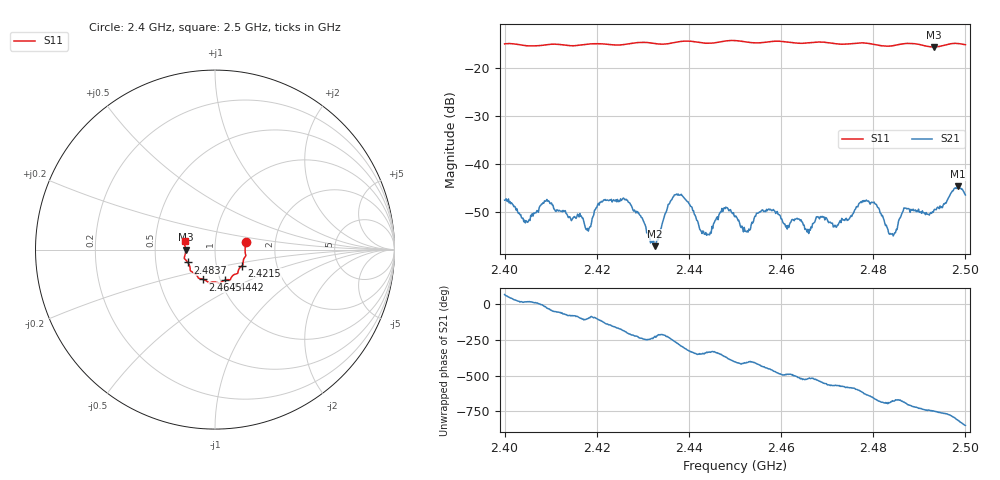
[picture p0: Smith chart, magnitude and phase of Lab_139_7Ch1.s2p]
# Hz S RI R 50
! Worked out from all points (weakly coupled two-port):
!   601 points, 2.4 GHz to 2.5 GHz, reference 50 ohm
!   highest |S21| = -44.67 dB at 2.4983 GHz (marker M1); lowest = -57.1 dB at 2.4327 GHz (marker M2)
!   lowest |S11| = -15.7 dB at 2.4932 GHz (marker M3), VSWR 1.39, Z = 35.9 - j0.0567 ohm
!   |S11| at or under -10 dB: start of sweep to end of sweep
!   S12 and S22 are empty: the file has one direction only
!   S11 on the Smith chart (normalised r, x): 2.4 GHz: 1.41, +0.12; 2.4215 GHz: 1.33, -0.25; 2.4442 GHz: 1.05, -0.37; 2.4645 GHz: 0.83, -0.29; 2.4837 GHz: 0.73, -0.11; 2.5 GHz: 0.71, +0.07
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2.4e9  0.1714 0.0402  0.00185 0.00376  0 0  0 0
2.404667e9  0.1682 0.013  0.0025 0.000601  0 0  0 0
2.409167e9  0.1704 -0.026  0.00368 -0.00216  0 0  0 0
2.416667e9  0.1567 -0.07  -0.000606 -0.00279  0 0  0 0
2.418167e9  0.1556 -0.0799  -0.000442 -0.00195  0 0  0 0
2.4215e9  0.1511 -0.0897  -0.00265 -0.00328  0 0  0 0
2.426667e9  0.1291 -0.119  -0.00381 0.00172  0 0  0 0
2.432667e9  0.1128 -0.1365  -0.000963 0.00101  0 0  0 0
2.433333e9  0.1082 -0.1385  -0.0013 0.000957  0 0  0 0
2.437333e9  0.0876 -0.1616  0.000225 0.00485  0 0  0 0
2.444167e9  0.0566 -0.1694  0.00169 0.000739  0 0  0 0
2.447667e9  0.0318 -0.1851  0.00345 -0.000479  0 0  0 0
2.45e9  0.0252 -0.1891  0.00202 -0.00197  0 0  0 0
2.4645e9  -0.0658 -0.166  -0.0024 -0.000725  0 0  0 0
2.466667e9  -0.0827 -0.1621  -0.00201 -0.00081  0 0  0 0
2.4785e9  -0.1384 -0.1141  0.000261 0.0042  0 0  0 0
2.483333e9  -0.149 -0.0752  0.00163 0.00102  0 0  0 0
2.483667e9  -0.151 -0.0717  0.0016 0.00101  0 0  0 0
2.487e9  -0.1703 -0.0508  0.00306 0.00165  0 0  0 0
2.493167e9  -0.1635 -0.000768  0.00293 -0.00151  0 0  0 0
2.498333e9  -0.1728 0.0418  1.73e-05 -0.00584  0 0  0 0
2.5e9  -0.1652 0.0503  -0.00288 -0.00377  0 0  0 0
